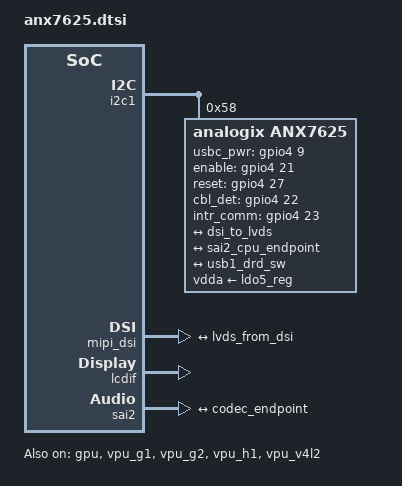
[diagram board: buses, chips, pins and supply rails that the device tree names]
/**
 */

&iomuxc {
	imx8mm {
		pinctrl_sai2: sai2grp {
			fsl,pins = <
				MX8MM_IOMUXC_SAI2_TXFS_SAI2_TX_SYNC   0xd6
				MX8MM_IOMUXC_SAI2_TXC_SAI2_TX_BCLK    0xd6
				MX8MM_IOMUXC_SAI2_TXD0_SAI2_TX_DATA0  0xd6

				MX8MM_IOMUXC_SAI2_RXFS_GPIO4_IO21     0x19
				MX8MM_IOMUXC_SAI2_RXC_GPIO4_IO22      0x51
				MX8MM_IOMUXC_SAI2_RXD0_GPIO4_IO23     0x151
				MX8MM_IOMUXC_SAI2_MCLK_GPIO4_IO27     0x19
				MX8MM_IOMUXC_SAI1_TXD1_GPIO4_IO13     0x19
			>;
		};
	};
};

&i2c1 {

	analogix: analogix_i2c@58{
		compatible ="analogix,anx7625";
		status = "okay";
		reg = <0x58>;
		vdda-supply = <&ldo5_reg>;

		// 1: internal panel always connected
		// !=1: usbc dp port is modeled as a panel that can
		// be present or not depending on the actual usbc cable connection
		// status see driver
		//panel_flags = <1>;

		usbc_pwr-gpios = <&gpio4 9 0x0>;    // VBUS EN active low
		enable-gpios = <&gpio4 21 0x0>;     // VIDEO_EN active high
		reset-gpios = <&gpio4 27 0x0>;      // VIDEO_RSTN active low
		cbl_det-gpios = <&gpio4 22 0x0>;    // VIDEO_CABLE cable input active high
		intr_comm-gpios = <&gpio4 23 IRQ_TYPE_NONE>;  // VIDEO_ALT comm irq input active low
		#sound-dai-cells = <0>;

		ports {
			#address-cells = <1>;
			#size-cells = <0>;

			port@0 {
				reg = <0>;
				lvds_from_dsi: endpoint {
					remote-endpoint = <&dsi_to_lvds>;
				};
			};

			port@3 {
				reg = <3>;
				codec_endpoint: endpoint {
					remote-endpoint = <&sai2_cpu_endpoint>;
				};
			};
		};

		typec1_con: connector {
			compatible = "usb-c-connector";
			label = "USB-C";
			power-role = "dual";
			data-role = "dual";
			try-power-role = "sink";
			source-pdos = <PDO_FIXED(5000, 3000, PDO_FIXED_USB_COMM)>;
			sink-pdos = <PDO_FIXED(5000, 3000, PDO_FIXED_USB_COMM)
			             PDO_VAR(5000, 20000, 3000)>;
			op-sink-microwatt = <15000000>;
			self-powered;
			ports {
				#address-cells = <1>;
				#size-cells = <0>;
				port@1 {
					reg = <1>;
					typec1_dr_sw: endpoint {
						remote-endpoint = <&usb1_drd_sw>;
					};
				};
			};
		};
	};
};

/ {
	sound-anx7625 {
		compatible = "simple-audio-card";
		simple-audio-card,format = "i2s";
		simple-audio-card,name = "anx7625";
		simple-audio-card,mclk-fs = <512>;
		simple-audio-card,cpu {
			sound-dai = <&sai2>;
			dai-tdm-slot-num = <2>;
			dai-tdm-slot-width = <32>;
		};
		simple-audio-card,codec {
			sound-dai = <&analogix>;
		};
	};
};

&mipi_dsi {
	status = "okay";
	port@1 {
		dsi_to_lvds: endpoint {
			remote-endpoint = <&lvds_from_dsi>;
			attach-bridge;
		};
	};
};

&lcdif {
	status = "okay";
	display = <&display0>;

	display0: display {
		bits-per-pixel = <32>;
		bus-width = <24>;

		display-timings {
			native-mode = <&timing_1>;

			timing_wvga: 800x480 {
				clock-frequency = <33260000>;
				hactive = <800>;
				vactive = <480>;
				hback-porch = <88>;
				hfront-porch = <40>;
				vback-porch = <32>;
				vfront-porch = <13>;
				hsync-len = <48>;
				vsync-len = <3>;
				de-active = <1>;
				hsync-active = <0>;
				vsync-active = <0>;
				pixelclk-active = <0>;
			};

			timing_1: 1920x1080 {
				clock-frequency = <74000000>;
				hactive = <1920>;
				vactive = <1080>;
				hback-porch = <148>;
				hfront-porch = <88>;
				vback-porch = <36>;
				vfront-porch = <4>;
				hsync-len = <44>;
				vsync-len = <5>;
				de-active = <1>;
				hsync-active = <0>;
				vsync-active = <0>;
				pixelclk-active = <0>;
			};

		};
	};

};

&sai2 {
	pinctrl-names = "default";
	pinctrl-0 = <&pinctrl_sai2>;
	assigned-clocks = <&clk IMX8MM_CLK_SAI2>;
	assigned-clock-parents = <&clk IMX8MM_AUDIO_PLL1_OUT>;
	assigned-clock-rates = <49152000>;
	clocks = <&clk IMX8MM_CLK_SAI2_IPG>, <&clk IMX8MM_CLK_DUMMY>,
					<&clk IMX8MM_CLK_SAI2_ROOT>, <&clk IMX8MM_CLK_DUMMY>,
					<&clk IMX8MM_CLK_DUMMY>, <&clk IMX8MM_AUDIO_PLL1_OUT>,
					<&clk IMX8MM_AUDIO_PLL2_OUT>;
	clock-names = "bus", "mclk0", "mclk1", "mclk2", "mclk3", "pll8k", "pll11k";
	fsl,sai-multi-lane;
	fsl,dataline,dsd = <0 0xff 0xff 2 0xff 0x11>;
	#sound-dai-cells = <0>;
	status = "okay";

	ports {
		sai2_port0: port@0 {
			sai2_cpu_endpoint: endpoint {
				remote-endpoint = <&codec_endpoint>;
				dai-format = "i2s";
			};
		};
	};
};

&gpu {
	status = "okay";
};

&vpu_g1 {
	status = "okay";
};

&vpu_g2 {
	status = "okay";
};

&vpu_h1 {
	status = "okay";
};

&vpu_v4l2 {
	status = "okay";
};
